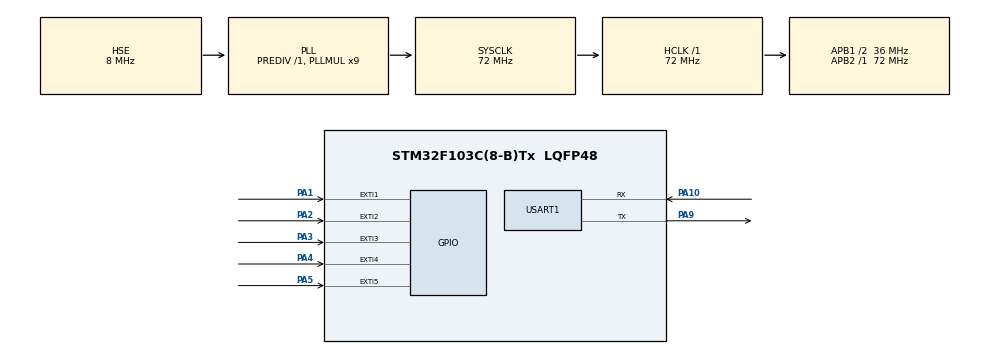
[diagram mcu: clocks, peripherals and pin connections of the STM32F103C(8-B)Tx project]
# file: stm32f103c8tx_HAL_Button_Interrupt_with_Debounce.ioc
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Mcu.Family=STM32F1
Mcu.Name=STM32F103C(8-B)Tx
Mcu.Package=LQFP48
NVIC.EXTI1_IRQn=true\:0\:0\:false\:false\:true\:true\:true
NVIC.EXTI2_IRQn=true\:0\:0\:false\:false\:true\:true\:true
NVIC.EXTI3_IRQn=true\:0\:0\:false\:false\:true\:true\:true
NVIC.EXTI4_IRQn=true\:0\:0\:false\:false\:true\:true\:true
NVIC.EXTI9_5_IRQn=true\:0\:0\:false\:false\:true\:true\:true
NVIC.PriorityGroup=NVIC_PRIORITYGROUP_4
PA1.GPIO_PuPd=GPIO_PULLDOWN
PA1.Signal=GPXTI1
PA10.Mode=Asynchronous
PA10.Signal=USART1_RX
PA2.GPIO_PuPd=GPIO_PULLDOWN
PA2.Signal=GPXTI2
PA3.GPIO_PuPd=GPIO_PULLDOWN
PA3.Signal=GPXTI3
PA4.GPIO_PuPd=GPIO_PULLDOWN
PA4.Signal=GPXTI4
PA5.GPIO_PuPd=GPIO_PULLDOWN
PA5.Signal=GPXTI5
PA9.Mode=Asynchronous
PA9.Signal=USART1_TX
PC14-OSC32_IN.Mode=LSE-External-Oscillator
PC14-OSC32_IN.Signal=RCC_OSC32_IN
PC15-OSC32_OUT.Mode=LSE-External-Oscillator
PC15-OSC32_OUT.Signal=RCC_OSC32_OUT
PD0-OSC_IN.Mode=HSE-External-Oscillator
PD0-OSC_IN.Signal=RCC_OSC_IN
PD1-OSC_OUT.Mode=HSE-External-Oscillator
PD1-OSC_OUT.Signal=RCC_OSC_OUT
ProjectManager.HeapSize=0x200
ProjectManager.StackSize=0x400
ProjectManager.TargetToolchain=STM32CubeIDE
RCC.AHBFreq_Value=72000000
RCC.APB1CLKDivider=RCC_HCLK_DIV2
RCC.APB1Freq_Value=36000000
RCC.APB1TimFreq_Value=72000000
RCC.APB2Freq_Value=72000000
RCC.APB2TimFreq_Value=72000000
RCC.HCLKFreq_Value=72000000
RCC.PLLMUL=RCC_PLL_MUL9
RCC.PLLSourceVirtual=RCC_PLLSOURCE_HSE
RCC.SYSCLKFreq_VALUE=72000000
RCC.SYSCLKSource=RCC_SYSCLKSOURCE_PLLCLK
RCC.USBFreq_Value=72000000
USART1.VirtualMode=VM_ASYNC
VP_SYS_VS_ND.Mode=No_Debug
board=custom

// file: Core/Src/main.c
/* USER CODE BEGIN Header */
/**
 ******************************************************************************
 * @file           : main.c
 * @brief          : Main program body
 ******************************************************************************
 * @attention
 *
 * <h2><center>&copy; Copyright (c) 2022 STMicroelectronics.
 * All rights reserved.</center></h2>
 *
 * This software component is licensed by ST under BSD 3-Clause license,
 * the "License"; You may not use this file except in compliance with the
 * License. You may obtain a copy of the License at:
 *                        opensource.org/licenses/BSD-3-Clause
 *
 ******************************************************************************
 */
/* USER CODE END Header */
#include "main.h"

/* USER CODE BEGIN Includes */
#include <string.h>
#include <stdio.h>
#include<stdlib.h>

/* USER CODE END Includes */

UART_HandleTypeDef huart1;

/* USER CODE BEGIN PV */

uint32_t previousMillis = 0;
uint32_t currentMillis = 0;
uint32_t counterOutside = 0; //For testing only
uint32_t counterInside = 0; //For testing only
static volatile uint8_t vertical, horizontal, ok;

/* USER CODE END PV */

void SystemClock_Config(void);
static void MX_GPIO_Init(void);
static void MX_USART1_UART_Init(void);
/* USER CODE BEGIN PFP */
#ifdef __GNUC__
#define PUTCHAR_PROTOTYPE int __io_putchar(int ch)
#else
#define PUTCHAR_PROTOTYPE int fputc(int ch,FILE *f)
#endif

PUTCHAR_PROTOTYPE {
	HAL_UART_Transmit(&huart1, (uint8_t*) &ch, 1, 100);

	return ch;

}

/* USER CODE END PFP */

int main(void)
{

  /* MCU Configuration--------------------------------------------------------*/

  /* Reset of all peripherals, Initializes the Flash interface and the Systick. */
  HAL_Init();

  /* Configure the system clock */
  SystemClock_Config();

  /* Initialize all configured peripherals */
  MX_GPIO_Init();
  MX_USART1_UART_Init();

  /* Infinite loop */
  /* USER CODE BEGIN WHILE */
	printf("---------- Device is ready ----------\n");
	while (1) {
    /* USER CODE END WHILE */

    /* USER CODE BEGIN 3 */
		//printf("App is running ...\n");
		//HAL_Delay(250);
	}
  /* USER CODE END 3 */
}

void SystemClock_Config(void)
{
  RCC_OscInitTypeDef RCC_OscInitStruct = {0};
  RCC_ClkInitTypeDef RCC_ClkInitStruct = {0};

  /** Initializes the RCC Oscillators according to the specified parameters
  * in the RCC_OscInitTypeDef structure.
  */
  RCC_OscInitStruct.OscillatorType = RCC_OSCILLATORTYPE_HSE;
  RCC_OscInitStruct.HSEState = RCC_HSE_ON;
  RCC_OscInitStruct.HSEPredivValue = RCC_HSE_PREDIV_DIV1;
  RCC_OscInitStruct.HSIState = RCC_HSI_ON;
  RCC_OscInitStruct.PLL.PLLState = RCC_PLL_ON;
  RCC_OscInitStruct.PLL.PLLSource = RCC_PLLSOURCE_HSE;
  RCC_OscInitStruct.PLL.PLLMUL = RCC_PLL_MUL9;
  if (HAL_RCC_OscConfig(&RCC_OscInitStruct) != HAL_OK)
  {
    Error_Handler();
  }
  /** Initializes the CPU, AHB and APB buses clocks
  */
  RCC_ClkInitStruct.ClockType = RCC_CLOCKTYPE_HCLK|RCC_CLOCKTYPE_SYSCLK
                              |RCC_CLOCKTYPE_PCLK1|RCC_CLOCKTYPE_PCLK2;
  RCC_ClkInitStruct.SYSCLKSource = RCC_SYSCLKSOURCE_PLLCLK;
  RCC_ClkInitStruct.AHBCLKDivider = RCC_SYSCLK_DIV1;
  RCC_ClkInitStruct.APB1CLKDivider = RCC_HCLK_DIV2;
  RCC_ClkInitStruct.APB2CLKDivider = RCC_HCLK_DIV1;

  if (HAL_RCC_ClockConfig(&RCC_ClkInitStruct, FLASH_LATENCY_2) != HAL_OK)
  {
    Error_Handler();
  }
}

static void MX_USART1_UART_Init(void)
{

  huart1.Instance = USART1;
  huart1.Init.BaudRate = 115200;
  huart1.Init.WordLength = UART_WORDLENGTH_8B;
  huart1.Init.StopBits = UART_STOPBITS_1;
  huart1.Init.Parity = UART_PARITY_NONE;
  huart1.Init.Mode = UART_MODE_TX_RX;
  huart1.Init.HwFlowCtl = UART_HWCONTROL_NONE;
  huart1.Init.OverSampling = UART_OVERSAMPLING_16;
  if (HAL_UART_Init(&huart1) != HAL_OK)
  {
    Error_Handler();
  }

}

static void MX_GPIO_Init(void)
{
  GPIO_InitTypeDef GPIO_InitStruct = {0};

  /* GPIO Ports Clock Enable */
  __HAL_RCC_GPIOC_CLK_ENABLE();
  __HAL_RCC_GPIOD_CLK_ENABLE();
  __HAL_RCC_GPIOA_CLK_ENABLE();

  /*Configure GPIO pins : PA1 PA2 PA3 PA4
                           PA5 */
  GPIO_InitStruct.Pin = GPIO_PIN_1|GPIO_PIN_2|GPIO_PIN_3|GPIO_PIN_4
                          |GPIO_PIN_5;
  GPIO_InitStruct.Mode = GPIO_MODE_IT_RISING;
  GPIO_InitStruct.Pull = GPIO_PULLDOWN;
  HAL_GPIO_Init(GPIOA, &GPIO_InitStruct);

  /* EXTI interrupt init*/
  HAL_NVIC_SetPriority(EXTI1_IRQn, 0, 0);
  HAL_NVIC_EnableIRQ(EXTI1_IRQn);

  HAL_NVIC_SetPriority(EXTI2_IRQn, 0, 0);
  HAL_NVIC_EnableIRQ(EXTI2_IRQn);

  HAL_NVIC_SetPriority(EXTI3_IRQn, 0, 0);
  HAL_NVIC_EnableIRQ(EXTI3_IRQn);

  HAL_NVIC_SetPriority(EXTI4_IRQn, 0, 0);
  HAL_NVIC_EnableIRQ(EXTI4_IRQn);

  HAL_NVIC_SetPriority(EXTI9_5_IRQn, 0, 0);
  HAL_NVIC_EnableIRQ(EXTI9_5_IRQn);

}

/* USER CODE BEGIN 4 */
void HAL_GPIO_EXTI_Callback(uint16_t GPIO_Pin) {
	counterOutside++; //For testing only
	currentMillis = HAL_GetTick();
	if (GPIO_Pin == GPIO_PIN_1 && (currentMillis - previousMillis > 150)) {
		counterInside++; //For testing only
		vertical++;
		printf("UP[%d]\n",vertical);
		previousMillis = currentMillis;
	}
	currentMillis = HAL_GetTick();
	if (GPIO_Pin == GPIO_PIN_2 && (currentMillis - previousMillis > 150)) {
		counterInside++; //For testing only
		vertical--;
		printf("DOWN[%d]\n",vertical);
		previousMillis = currentMillis;
	}
	currentMillis = HAL_GetTick();
	if (GPIO_Pin == GPIO_PIN_3 && (currentMillis - previousMillis > 150)) {
		counterInside++; //For testing only
		ok++;
		printf("OK[%d]\n", ok);
		previousMillis = currentMillis;
	}
	currentMillis = HAL_GetTick();
	if (GPIO_Pin == GPIO_PIN_4 && (currentMillis - previousMillis > 150)) {
		counterInside++; //For testing only
		horizontal++;
		printf("LEFT[%d]\n", horizontal);
		previousMillis = currentMillis;
	}
	currentMillis = HAL_GetTick();
	if (GPIO_Pin == GPIO_PIN_5 && (currentMillis - previousMillis > 300)) {
		counterInside++; //For testing only
		horizontal--;
		printf("RIGHT[%d]\n",horizontal);
		previousMillis = currentMillis;
	}

}

/* USER CODE END 4 */

void Error_Handler(void)
{
}

/************************ (C) COPYRIGHT STMicroelectronics *****END OF FILE****/
